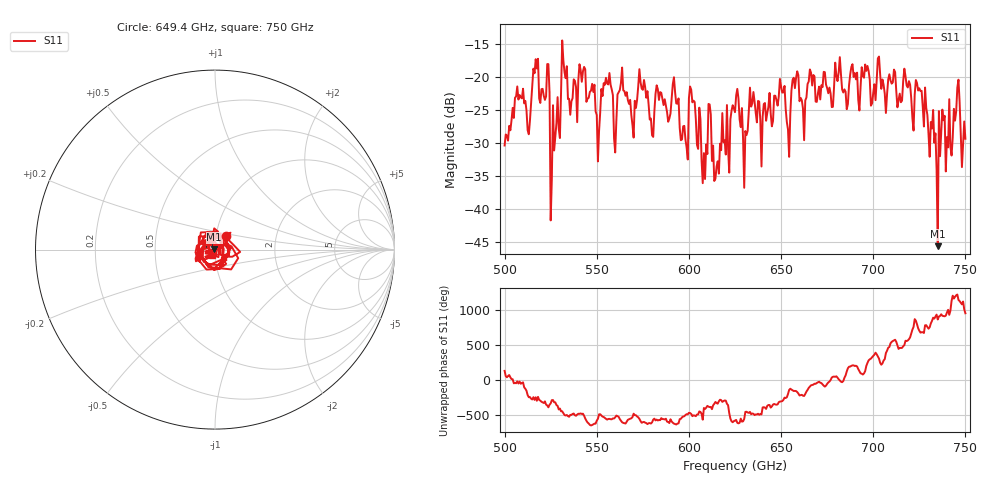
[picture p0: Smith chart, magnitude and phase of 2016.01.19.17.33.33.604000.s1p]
!Created with skrf (http://scikit-rf.org).
# GHz S RI R 50.0
!freq ReS11 ImS11
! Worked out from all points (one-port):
!   401 points, 500 GHz to 750 GHz, reference 50 ohm
!   lowest |S11| = -45.6 dB at 735 GHz (marker M1), VSWR 1.01, Z = 49.5 + j0.262 ohm
!   |S11| at or under -10 dB: start of sweep to end of sweep
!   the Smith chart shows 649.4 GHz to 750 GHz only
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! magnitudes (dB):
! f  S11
! 500 GHz  -30.4
! 506.9 GHz  -21.5
! 513.1 GHz  -28.7
! 516.9 GHz  -17.3
! 523.1 GHz  -18.1
! 526.2 GHz  -24.3
! 531.2 GHz  -14.5
! 542.5 GHz  -19.2
! 550.6 GHz  -32.8
! 553.8 GHz  -21.0
! 562.5 GHz  -22.0
! 593.8 GHz  -24.1
! 598.1 GHz  -29.5
! 601.9 GHz  -23.9
! 608.1 GHz  -31.5
! 611.9 GHz  -25.7
! 615 GHz  -33.6
! 625 GHz  -25.4
! 630.6 GHz  -28.2
! 634.4 GHz  -24.0
! 650.6 GHz  -22.4
! 653.8 GHz  -28.0
! 656.2 GHz  -20.5
! 687.5 GHz  -19.6
! 718.8 GHz  -21.6
! 735 GHz  -45.6
! 745.6 GHz  -21.6
! 750 GHz  -29.4
